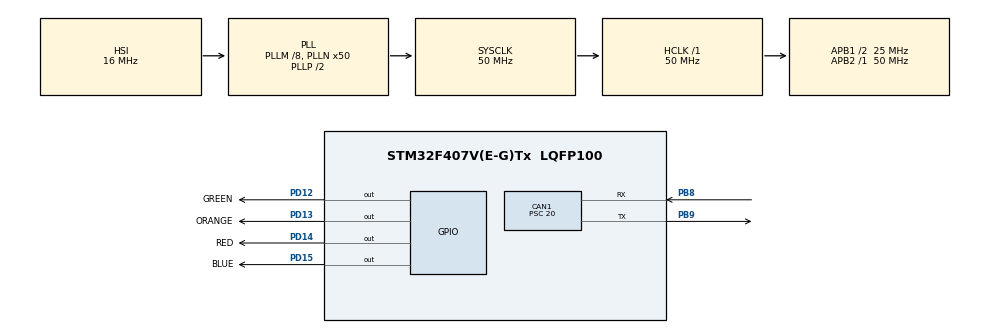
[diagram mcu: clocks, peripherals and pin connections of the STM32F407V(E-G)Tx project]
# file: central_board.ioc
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CAN1.BS1=CAN_BS1_12TQ
CAN1.BS2=CAN_BS2_2TQ
CAN1.CalculateBaudRate=83333
CAN1.CalculateTimeBit=12000
CAN1.CalculateTimeQuantum=800.0
CAN1.NART=DISABLE
CAN1.Prescaler=20
Mcu.Family=STM32F4
Mcu.Name=STM32F407V(E-G)Tx
Mcu.Package=LQFP100
NVIC.CAN1_RX0_IRQn=true\:0\:0\:false\:false\:true\:true\:true\:true
NVIC.CAN1_SCE_IRQn=true\:0\:0\:false\:false\:true\:true\:true\:true
NVIC.CAN1_TX_IRQn=true\:0\:0\:false\:false\:true\:true\:true\:true
NVIC.PriorityGroup=NVIC_PRIORITYGROUP_0
PB8.GPIO_PuPd=GPIO_PULLUP
PB8.Mode=CAN_Activate
PB8.Signal=CAN1_RX
PB9.GPIO_PuPd=GPIO_PULLUP
PB9.Mode=CAN_Activate
PB9.Signal=CAN1_TX
PD12.GPIO_Label=GREEN
PD12.Signal=GPIO_Output
PD13.GPIO_Label=ORANGE
PD13.Signal=GPIO_Output
PD14.GPIO_Label=RED
PD14.Signal=GPIO_Output
PD15.GPIO_Label=BLUE
PD15.Signal=GPIO_Output
ProjectManager.HeapSize=0x200
ProjectManager.StackSize=0x400
ProjectManager.TargetToolchain=STM32CubeIDE
RCC.48MHZClocksFreq_Value=14285714.285714285
RCC.AHBFreq_Value=50000000
RCC.APB1CLKDivider=RCC_HCLK_DIV2
RCC.APB1Freq_Value=25000000
RCC.APB1TimFreq_Value=50000000
RCC.APB2Freq_Value=50000000
RCC.APB2TimFreq_Value=50000000
RCC.CortexFreq_Value=50000000
RCC.HCLKFreq_Value=50000000
RCC.HSE_VALUE=8000000
RCC.HSI_VALUE=16000000
RCC.LSE_VALUE=32768
RCC.PLLM=8
RCC.PLLN=50
RCC.PLLQ=7
RCC.SYSCLKFreq_VALUE=50000000
RCC.SYSCLKSource=RCC_SYSCLKSOURCE_PLLCLK
RCC.VCOOutputFreq_Value=100000000
board=STM32F407G-DISC1

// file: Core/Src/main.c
/* USER CODE BEGIN Header */
/**
  ******************************************************************************
  * @file           : main.c
  * @brief          : Main program body
  ******************************************************************************
  * @attention
  *
  * Copyright (c) 2024 STMicroelectronics.
  * All rights reserved.
  *
  * This software is licensed under terms that can be found in the LICENSE file
  * in the root directory of this software component.
  * If no LICENSE file comes with this software, it is provided AS-IS.
  *
  ******************************************************************************
  */
/* USER CODE END Header */
#include "main.h"

/* USER CODE BEGIN PD */
#define CAN_RECIEV_MSG_SIZE  4 // Size of the receive message buffer
#define CAN_remote_MSG_SIZE  2 // Size of the remote message buffer
#define DOMINANT 0 // Represents the dominant state in CAN communication
#define RECESSIVE 1 // Represents the recessive state in CAN communication

/* USER CODE END PD */

CAN_HandleTypeDef hcan1;

/* USER CODE BEGIN PV */
volatile uint8_t Can_Transmission_Flag = 0; // flag to indicate the status of CAN transmission
char uart_receiv_msg = '\0'; // Variable to store the received UART message, initialized to null character
/* USER CODE END PV */

void SystemClock_Config(void);
static void MX_GPIO_Init(void);
static void MX_CAN1_Init(void);
/* USER CODE BEGIN PFP */
static void CAN1_Tx(void);
static void CAN1_Filter_Config(void);
static void CAN1_Rx(void);
/* USER CODE END PFP */

int main(void)
{

  /* MCU Configuration--------------------------------------------------------*/

  /* Reset of all peripherals, Initializes the Flash interface and the Systick. */
  HAL_Init();

  /* Configure the system clock */
  SystemClock_Config();

  /* Initialize all configured peripherals */
  MX_GPIO_Init();
  MX_CAN1_Init();
  /* USER CODE BEGIN 2 */
  CAN1_Filter_Config();
  if(HAL_CAN_ActivateNotification(&hcan1, CAN_IT_TX_MAILBOX_EMPTY | CAN_IT_RX_FIFO0_MSG_PENDING | CAN_IT_BUSOFF) != HAL_OK)
  {
	  Error_Handler();
  }
  if(HAL_CAN_Start(&hcan1) != HAL_OK)
  {
	 Error_Handler();
  }
  /* USER CODE END 2 */

  /* Infinite loop */
  /* USER CODE BEGIN WHILE */
  while (1)
  {
	  // Check if CAN transmission flag indicates successful transmission
	  if (1 == Can_Transmission_Flag) {
	      // Set blue LED and reset red LED
	      HAL_GPIO_WritePin(BLUE_GPIO_Port, BLUE_Pin, GPIO_PIN_SET);
	      HAL_GPIO_WritePin(RED_GPIO_Port, RED_Pin, GPIO_PIN_RESET);
	      // Reset transmission flag
	      Can_Transmission_Flag = 0;
	  }
	  // Check if CAN transmission flag indicates transmission error
	  else if (3 == Can_Transmission_Flag) {
	      // Reset blue LED and set red LED
	      HAL_GPIO_WritePin(BLUE_GPIO_Port, BLUE_Pin, GPIO_PIN_RESET);
	      HAL_GPIO_WritePin(RED_GPIO_Port, RED_Pin, GPIO_PIN_SET);
	      // Reset transmission flag
	      Can_Transmission_Flag = 0;
	  }
	  // Delay before the next iteration
	  HAL_Delay(500);

    /* USER CODE END WHILE */

  }
}

void SystemClock_Config(void)
{
  RCC_OscInitTypeDef RCC_OscInitStruct = {0};
  RCC_ClkInitTypeDef RCC_ClkInitStruct = {0};

  /** Configure the main internal regulator output voltage
  */
  __HAL_RCC_PWR_CLK_ENABLE();
  __HAL_PWR_VOLTAGESCALING_CONFIG(PWR_REGULATOR_VOLTAGE_SCALE1);

  /** Initializes the RCC Oscillators according to the specified parameters
  * in the RCC_OscInitTypeDef structure.
  */
  RCC_OscInitStruct.OscillatorType = RCC_OSCILLATORTYPE_HSI;
  RCC_OscInitStruct.HSIState = RCC_HSI_ON;
  RCC_OscInitStruct.HSICalibrationValue = RCC_HSICALIBRATION_DEFAULT;
  RCC_OscInitStruct.PLL.PLLState = RCC_PLL_ON;
  RCC_OscInitStruct.PLL.PLLSource = RCC_PLLSOURCE_HSI;
  RCC_OscInitStruct.PLL.PLLM = 8;
  RCC_OscInitStruct.PLL.PLLN = 50;
  RCC_OscInitStruct.PLL.PLLP = RCC_PLLP_DIV2;
  RCC_OscInitStruct.PLL.PLLQ = 7;
  if (HAL_RCC_OscConfig(&RCC_OscInitStruct) != HAL_OK)
  {
    Error_Handler();
  }

  /** Initializes the CPU, AHB and APB buses clocks
  */
  RCC_ClkInitStruct.ClockType = RCC_CLOCKTYPE_HCLK|RCC_CLOCKTYPE_SYSCLK
                              |RCC_CLOCKTYPE_PCLK1|RCC_CLOCKTYPE_PCLK2;
  RCC_ClkInitStruct.SYSCLKSource = RCC_SYSCLKSOURCE_PLLCLK;
  RCC_ClkInitStruct.AHBCLKDivider = RCC_SYSCLK_DIV1;
  RCC_ClkInitStruct.APB1CLKDivider = RCC_HCLK_DIV2;
  RCC_ClkInitStruct.APB2CLKDivider = RCC_HCLK_DIV1;

  if (HAL_RCC_ClockConfig(&RCC_ClkInitStruct, FLASH_LATENCY_1) != HAL_OK)
  {
    Error_Handler();
  }
}

static void MX_CAN1_Init(void)
{

  hcan1.Instance = CAN1;
  hcan1.Init.Prescaler = 20;
  hcan1.Init.Mode = CAN_MODE_NORMAL;
  hcan1.Init.SyncJumpWidth = CAN_SJW_1TQ;
  hcan1.Init.TimeSeg1 = CAN_BS1_12TQ;
  hcan1.Init.TimeSeg2 = CAN_BS2_2TQ;
  hcan1.Init.TimeTriggeredMode = DISABLE;
  hcan1.Init.AutoBusOff = DISABLE;
  hcan1.Init.AutoWakeUp = DISABLE;
  hcan1.Init.AutoRetransmission = DISABLE;
  hcan1.Init.ReceiveFifoLocked = DISABLE;
  hcan1.Init.TransmitFifoPriority = DISABLE;
  if (HAL_CAN_Init(&hcan1) != HAL_OK)
  {
    Error_Handler();
  }

}

static void MX_GPIO_Init(void)
{
  GPIO_InitTypeDef GPIO_InitStruct = {0};

  /* GPIO Ports Clock Enable */
  __HAL_RCC_GPIOD_CLK_ENABLE();
  __HAL_RCC_GPIOB_CLK_ENABLE();

  /*Configure GPIO pin Output Level */
  HAL_GPIO_WritePin(GPIOD, GREEN_Pin|ORANGE_Pin|RED_Pin|BLUE_Pin, GPIO_PIN_RESET);

  /*Configure GPIO pins : GREEN_Pin ORANGE_Pin RED_Pin BLUE_Pin */
  GPIO_InitStruct.Pin = GREEN_Pin|ORANGE_Pin|RED_Pin|BLUE_Pin;
  GPIO_InitStruct.Mode = GPIO_MODE_OUTPUT_PP;
  GPIO_InitStruct.Pull = GPIO_NOPULL;
  GPIO_InitStruct.Speed = GPIO_SPEED_FREQ_LOW;
  HAL_GPIO_Init(GPIOD, &GPIO_InitStruct);

}

/* USER CODE BEGIN 4 */
/**
  * @brief  Transmits CAN messages based on received UART message.
  * @retval None
  */
static void CAN1_Tx(void) {
    CAN_TxHeaderTypeDef TxHeader;
    uint32_t TxMailbox;
    uint8_t can_msg = '\0';

    // Motor remote frame ID
    if ('m' == uart_receiv_msg) {
        TxHeader.StdId = 0xFF0;
    }
    // Fan remote frame ID
    else if ('F' == uart_receiv_msg) {
        TxHeader.StdId = 0xFF1;
    }

    TxHeader.RTR = CAN_RTR_DATA;
    TxHeader.IDE = CAN_ID_STD;
    TxHeader.DLC = CAN_remote_MSG_SIZE;

    if (HAL_CAN_AddTxMessage(&hcan1, &TxHeader, &can_msg, &TxMailbox) != HAL_OK) {
        Error_Handler();
    }
}

/**
  * @brief  Configures CAN filter.
  * @retval None
  */
static void CAN1_Filter_Config(void) {
    CAN_FilterTypeDef can1_filter_init;

    can1_filter_init.FilterActivation = ENABLE;
    can1_filter_init.FilterBank = 0;
    can1_filter_init.FilterFIFOAssignment = CAN_RX_FIFO0;
    can1_filter_init.FilterIdHigh = 0x000 << 5;
    can1_filter_init.FilterIdLow = 0x0000;
    can1_filter_init.FilterMaskIdHigh = 0xFFC << 5;
    can1_filter_init.FilterMaskIdLow = 0x0000;
    can1_filter_init.FilterMode = CAN_FILTERMODE_IDMASK;
    can1_filter_init.FilterScale = CAN_FILTERSCALE_32BIT;

    if (HAL_CAN_ConfigFilter(&hcan1, &can1_filter_init) != HAL_OK) {
        Error_Handler();
    }
}

/**
  * @brief  Receives CAN messages and handles them.
  * @retval None
  */
static void CAN1_Rx(void) {
    CAN_RxHeaderTypeDef RxHeader;
    uint8_t Reciev_Msg[CAN_RECIEV_MSG_SIZE];

    if (HAL_CAN_GetRxMessage(&hcan1, CAN_RX_FIFO0, &RxHeader, Reciev_Msg) != HAL_OK) {
        Error_Handler();
    }

    if (RxHeader.RTR == DOMINANT) {
        // Actuators frame
        if (0x002 == RxHeader.StdId) {
            HAL_GPIO_WritePin(ORANGE_GPIO_Port, ORANGE_Pin, GPIO_PIN_SET);
            HAL_GPIO_WritePin(BLUE_GPIO_Port, BLUE_Pin, GPIO_PIN_RESET);
            HAL_GPIO_WritePin(GREEN_GPIO_Port, GREEN_Pin, GPIO_PIN_RESET);
        }
        // Sensors frame: temp > 28
        else if (0x001 == RxHeader.StdId) {
            HAL_GPIO_WritePin(BLUE_GPIO_Port, BLUE_Pin, GPIO_PIN_SET);
            HAL_GPIO_WritePin(ORANGE_GPIO_Port, ORANGE_Pin, GPIO_PIN_RESET);
            HAL_GPIO_WritePin(GREEN_GPIO_Port, GREEN_Pin, GPIO_PIN_RESET);
        }
        // Sensors frame: temp < 28
        else if (0x003 == RxHeader.StdId) {
            HAL_GPIO_WritePin(BLUE_GPIO_Port, BLUE_Pin, GPIO_PIN_RESET);
            HAL_GPIO_WritePin(ORANGE_GPIO_Port, ORANGE_Pin, GPIO_PIN_RESET);
            HAL_GPIO_WritePin(GREEN_GPIO_Port, GREEN_Pin, GPIO_PIN_SET);
        }
    }
}

/**
  * @brief  Callback function for handling mailbox 0 transmission complete event.
  * @param  hcan: CAN handle
  * @retval None
  */
void HAL_CAN_TxMailbox0CompleteCallback(CAN_HandleTypeDef *hcan) {
    if (hcan->Instance == CAN1) {
        Can_Transmission_Flag = 1;
    }
}

/**
  * @brief  Callback function for handling mailbox 1 transmission complete event.
  * @param  hcan: CAN handle
  * @retval None
  */
void HAL_CAN_TxMailbox1CompleteCallback(CAN_HandleTypeDef *hcan) {
    if (hcan->Instance == CAN1) {
        Can_Transmission_Flag = 1;
    }
}

/**
  * @brief  Callback function for handling mailbox 2 transmission complete event.
  * @param  hcan: CAN handle
  * @retval None
  */
void HAL_CAN_TxMailbox2CompleteCallback(CAN_HandleTypeDef *hcan) {
    if (hcan->Instance == CAN1) {
        Can_Transmission_Flag = 1;
    }
}

/**
  * @brief  Callback function for handling FIFO 0 message pending event.
  * @param  hcan: CAN handle
  * @retval None
  */
void HAL_CAN_RxFifo0MsgPendingCallback(CAN_HandleTypeDef *hcan) {
    if (hcan->Instance == CAN1) {
        CAN1_Rx();
    }
}

/**
  * @brief  Callback function for handling CAN error event.
  * @param  hcan: CAN handle
  * @retval None
  */
void HAL_CAN_ErrorCallback(CAN_HandleTypeDef *hcan) {
    if (hcan->Instance == CAN1) {
        Can_Transmission_Flag = 3;
    }
}

/* USER CODE END 4 */

void Error_Handler(void)
{
  __disable_irq();
  while (1)
  {
  }
}
